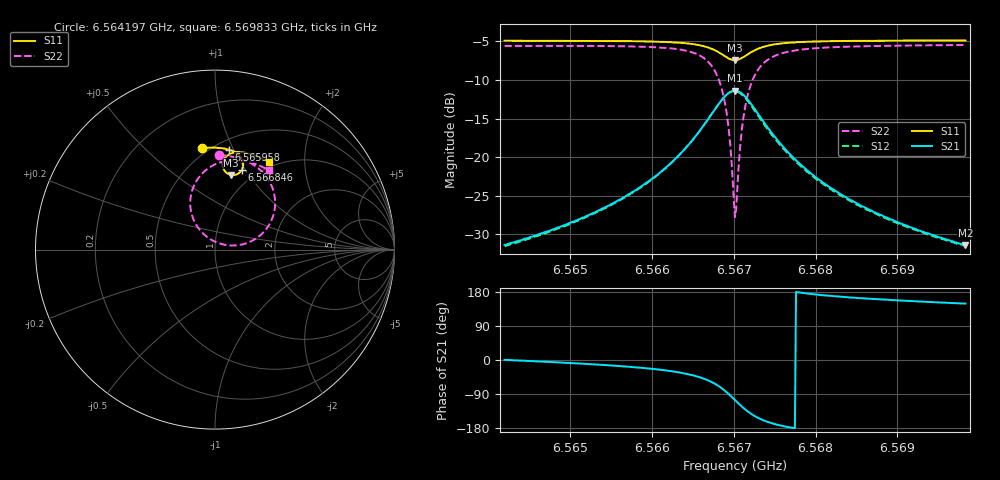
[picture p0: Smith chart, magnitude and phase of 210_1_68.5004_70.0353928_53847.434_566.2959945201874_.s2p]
#  HZ  S  RI  R  50.00
! Rohde & Schwarz Vector Network Analyzer
! Rohde-Schwarz,ZNB20-2Port,1311601062101988,3.16
! Created: UTC 3/20/2024, 4:57:59 PM
! freq[Hz]  re:S11  im:S11  re:S21  im:S21  re:S12  im:S12  re:S22  im:S22
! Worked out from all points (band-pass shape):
!   401 points, 6.564197 GHz to 6.569833 GHz, reference 50 ohm
!   highest |S21| = -11.36 dB at 6.567015 GHz (marker M1); lowest = -31.4 dB at 6.569833 GHz (marker M2)
!   |S21| within 3 dB of the highest: 6.566732 GHz to 6.567297 GHz (564.6 kHz wide, 0.0086 % of centre)
!   lowest |S11| = -7.4 dB at 6.567015 GHz (marker M3), VSWR 2.48, Z = 40.7 + j41.4 ohm
!   |S11| at or under -10 dB: nowhere
!   |S22| runs from -27.8 to -5.5 dB; largest |S21 - S12| = 0.013
!   S11 on the Smith chart (normalised r, x): 6.564197 GHz: 0.46, +0.77; 6.565958 GHz: 0.59, +0.96; 6.566846 GHz: 0.85, +0.96; 6.569833 GHz: 0.92, +1.34
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6.5641969e9  -0.075 0.5642  0.0271 0.000205  0.0266 -0.000267  0.0249 0.5259
6.5651409e9  0.00181 0.5681  0.0399 -0.00692  0.0392 -0.00734  0.1129 0.5142
6.5659581e9  0.0765 0.5573  0.0646 -0.0268  0.0637 -0.0274  0.2142 0.4722
6.5660849e9  0.0897 0.5531  0.0712 -0.0336  0.0701 -0.0346  0.2348 0.458
6.5663949e9  0.1246 0.5346  0.0915 -0.0649  0.0902 -0.0662  0.2932 0.3964
6.5666062e9  0.1487 0.5069  0.1049 -0.1128  0.1025 -0.1151  0.3312 0.3036
6.5667471e9  0.1574 0.4741  0.098 -0.1705  0.0936 -0.1734  0.3257 0.1938
6.5668458e9  0.1489 0.4435  0.0662 -0.2226  0.0588 -0.2255  0.2692 0.0958
6.566888e9  0.139 0.4309  0.0407 -0.2435  0.0317 -0.2453  0.2228 0.0582
6.5669303e9  0.1246 0.4209  0.00744 -0.2591  -0.00317 -0.2589  0.1621 0.0314
6.5670007e9  0.0938 0.4155  -0.0595 -0.2634  -0.0705 -0.2588  0.0428 0.0293
6.5670148e9  0.0875 0.4164  -0.073 -0.2602  -0.0839 -0.2546  0.019 0.0363
6.567043e9  0.0752 0.4206  -0.099 -0.2501  -0.1088 -0.2425  -0.0251 0.0574
6.5670853e9  0.0597 0.4316  -0.1319 -0.2267  -0.1396 -0.217  -0.0791 0.1028
6.5671276e9  0.0493 0.4461  -0.1553 -0.1971  -0.1605 -0.1865  -0.1153 0.1575
6.5671839e9  0.0433 0.467  -0.1716 -0.1558  -0.1737 -0.1452  -0.1365 0.2319
6.5672544e9  0.0455 0.4902  -0.1742 -0.1101  -0.1734 -0.1011  -0.1321 0.3112
6.567353e9  0.0583 0.5138  -0.1608 -0.0641  -0.1583 -0.0576  -0.0991 0.389
6.567508e9  0.0836 0.5332  -0.1321 -0.0245  -0.1292 -0.0206  -0.036 0.454
6.5679588e9  0.1444 0.5426  -0.0769 0.00817  -0.0752 0.00939  0.0914 0.4982
6.5689029e9  0.2305 0.5208  -0.0373 0.0148  -0.0364 0.015  0.2209 0.479
6.5698328e9  0.2984 0.4869  -0.0231 0.0139  -0.0226 0.0141  0.3002 0.4412
